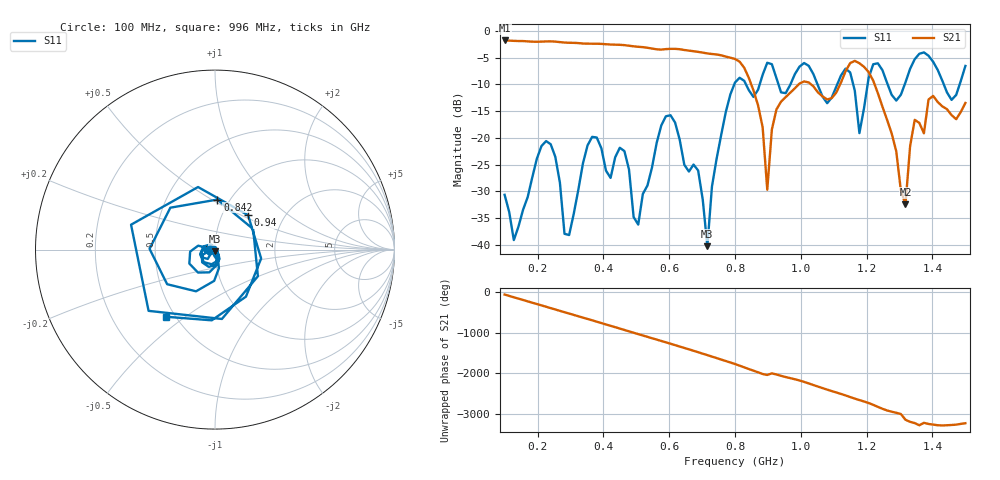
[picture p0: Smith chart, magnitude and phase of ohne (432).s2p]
! NanoVNA-App
! Date: 2025-09-25 14:24:09
! Start: 100MHz Stop: 1,5GHz Points: 101
! S-Parameter data: F S11 S21 S12 S22
# Hz S RI R 50
!  Frequency  S11_Real  S11_Imag  S21_Real  S21_Imag  S12_Real  S12_Imag  S22_Real  S22_Imag
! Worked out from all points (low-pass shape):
!   101 points, 100 MHz to 1.5 GHz, reference 50 ohm
!   highest |S21| = -1.79 dB at 100 MHz (marker M1); lowest = -32.4 dB at 1.318 GHz (marker M2)
!   |S21| within 3 dB of the highest: start of sweep to 771 MHz
!   lowest |S11| = -40.2 dB at 716 MHz (marker M3), VSWR 1.02, Z = 49.8 - j0.941 ohm
!   |S11| at or under -10 dB: start of sweep to 797.8 MHz; 833.3 MHz to 875.1 MHz (41.78 MHz wide, 4.89 % of centre); 1.051 GHz to 1.111 GHz (60.01 MHz wide, 5.55 % of centre) (the widest 3 of 7)
!   S12 and S22 are empty: the file has one direction only
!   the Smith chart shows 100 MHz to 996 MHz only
!   S11 on the Smith chart (normalised r, x): 100 MHz: 0.94, -0.01; 842 MHz: 0.88, +0.53; 940 MHz: 1.32, +0.55; 996 MHz: 0.45, -0.42
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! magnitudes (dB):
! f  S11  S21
! 100 MHz  -30.6  -1.8
! 128 MHz  -39.1  -1.9
! 226 MHz  -20.6  -2.0
! 296 MHz  -38.2  -2.2
! 338 MHz  -24.8  -2.4
! 464 MHz  -22.5  -2.7
! 506 MHz  -36.2  -3.0
! 576 MHz  -17.7  -3.5
! 688 MHz  -26.1  -3.9
! 716 MHz  -40.2  -4.2
! 800 MHz  -9.7  -5.3
! 842 MHz  -11.1  -8.8
! 898 MHz  -6.0  -29.7
! 940 MHz  -11.5  -13.2
! 996 MHz  -6.7  -9.8
! 1.038 GHz  -8.1  -10.4
! 1.178 GHz  -19.1  -6.1
! 1.22 GHz  -6.2  -9.3
! 1.276 GHz  -12.0  -19.2
! 1.318 GHz  -9.6  -32.4
! 1.346 GHz  -5.3  -16.6
! 1.5 GHz  -6.6  -13.5
